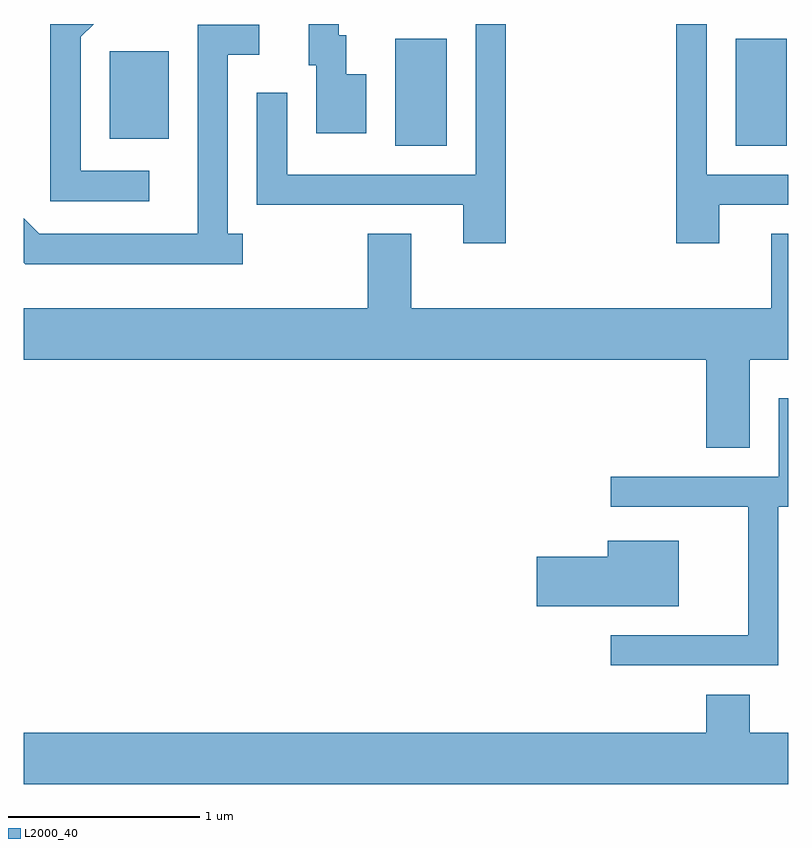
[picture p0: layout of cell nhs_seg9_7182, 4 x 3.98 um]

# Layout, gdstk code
import gdstk
lib = gdstk.Library(unit=1e-6, precision=1e-09)
def R(c, l, rs):  # rectangles x0, y0, x1, y1
    for r in rs: c.add(gdstk.rectangle(r[:2], r[2:], *l))
def P(c, l, *ps):  # polygons
    for p in ps: c.add(gdstk.Polygon(p, *l))
L2000_40 = (2000, 40)

nhs_seg9_7182 = lib.new_cell('nhs_seg9_7182')
R(nhs_seg9_7182, L2000_40, [(399.556,2021.796,399.824,2022.354), (401.336,2021.796,401.604,2022.354), (398.061,2021.831,398.369,2022.289)])
P(nhs_seg9_7182, L2000_40, [(401.249,2021.486),(401.611,2021.486),(401.611,2021.644),(401.184,2021.644),(401.184,2022.432),(401.026,2022.432),(401.026,2021.286),(401.249,2021.286)],
  [(398.268,2021.664),(397.909,2021.664),(397.909,2022.364),(397.977,2022.432),(397.751,2022.432),(397.751,2021.506),(398.268,2021.506)],
  [(399.404,2022.169),(399.299,2022.169),(399.299,2022.374),(399.259,2022.374),(399.259,2022.432),(399.101,2022.432),(399.101,2022.216),(399.141,2022.216),(399.141,2021.861),(399.404,2021.861)],
  [(400.134,2022.432),(399.976,2022.432),(399.976,2021.644),(398.989,2021.644),(398.989,2022.073),(398.831,2022.073),(398.831,2021.486),(399.911,2021.486),(399.911,2021.286),(400.134,2021.286)],
  [(398.758,2021.334),(398.679,2021.334),(398.679,2022.271),(398.843,2022.271),(398.843,2022.429),(398.521,2022.429),(398.521,2021.334),(397.692,2021.334),(397.611,2021.415),(397.611,2021.184),(397.619,2021.176),(398.758,2021.176)],
  [(401.409,2020.676),(401.611,2020.676),(401.611,2021.334),(401.521,2021.334),(401.521,2020.944),(399.639,2020.944),(399.639,2021.334),(399.411,2021.334),(399.411,2020.944),(397.611,2020.944),(397.611,2020.676),(401.181,2020.676),(401.181,2020.216),(401.409,2020.216)],
  [(401.559,2019.906),(401.611,2019.906),(401.611,2020.474),(401.561,2020.474),(401.561,2020.064),(400.683,2020.064),(400.683,2019.906),(401.401,2019.906),(401.401,2019.234),(400.683,2019.234),(400.683,2019.076),(401.559,2019.076)],
  [(401.039,2019.729),(400.666,2019.729),(400.666,2019.644),(400.296,2019.644),(400.296,2019.386),(401.039,2019.386)],
  [(401.611,2018.724),(401.409,2018.724),(401.409,2018.924),(401.181,2018.924),(401.181,2018.724),(397.611,2018.724),(397.611,2018.456),(401.611,2018.456)])

lib.write_gds('nhs_seg9_7182.gds')
